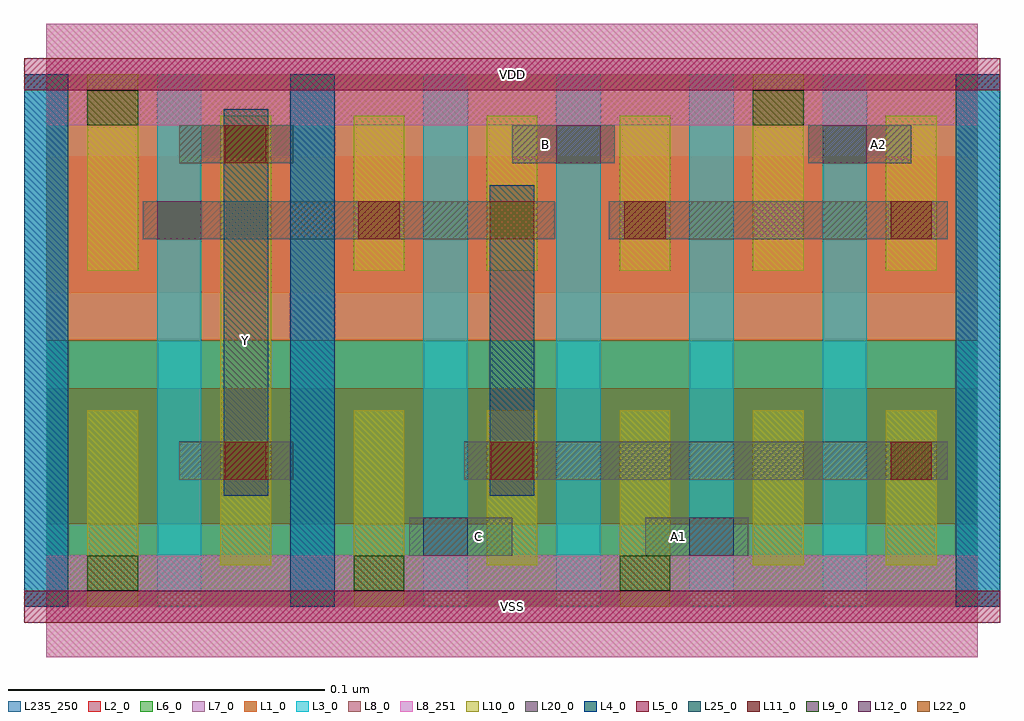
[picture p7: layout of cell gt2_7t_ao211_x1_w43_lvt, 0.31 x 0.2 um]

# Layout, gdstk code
import gdstk
lib = gdstk.Library(unit=1e-6, precision=5e-10)
def R(c, l, rs):  # rectangles x0, y0, x1, y1
    for r in rs: c.add(gdstk.rectangle(r[:2], r[2:], *l))
def A(c, l, x, y, w, h, nx, ny, dx, dy):  # array of equal rectangles
    R(c, l, [(x+i*dx, y+j*dy, x+i*dx+w, y+j*dy+h) for i in range(nx) for j in range(ny)])
L1_0 = (1, 0)
L2_0 = (2, 0)
L3_0 = (3, 0)
L4_0 = (4, 0)
L5_0 = (5, 0)
L6_0 = (6, 0)
L7_0 = (7, 0)
L8_0 = (8, 0)
L8_251 = (8, 251)
L9_0 = (9, 0)
L10_0 = (10, 0)
L11_0 = (11, 0)
L12_0 = (12, 0)
L20_0 = (20, 0)
L22_0 = (22, 0)
L25_0 = (25, 0)
L235_250 = (235, 250)

gt2_7t_ao211_x1_w43_lvt = lib.new_cell('gt2_7t_ao211_x1_w43_lvt')
R(gt2_7t_ao211_x1_w43_lvt, L1_0, [(0,0.084,0.294,0.168)])
R(gt2_7t_ao211_x1_w43_lvt, L2_0, [(0,0.026,0.294,0.069), (0,0.099,0.294,0.142)])
A(gt2_7t_ao211_x1_w43_lvt, L3_0, -0.007, 0, 0.014, 0.168, 8, 1, 0.042, 0)
R(gt2_7t_ao211_x1_w43_lvt, L4_0, [(-0.007,0,0.007,0.168), (0.077,0,0.091,0.168), (0.287,0,0.301,0.168)])
R(gt2_7t_ao211_x1_w43_lvt, L5_0, [(-0.007,-0.005,0.301,0.005), (-0.007,0.163,0.301,0.173)])
R(gt2_7t_ao211_x1_w43_lvt, L6_0, [(0,0,0.294,0.084)])
R(gt2_7t_ao211_x1_w43_lvt, L7_0, [(0,0.084,0.294,0.168)])
R(gt2_7t_ao211_x1_w43_lvt, L8_0, [(0,-0.016,0.294,0.016), (0,0.152,0.294,0.184)])
R(gt2_7t_ao211_x1_w43_lvt, L8_251, [(0,-0.016,0.294,0.016), (0,0.152,0.294,0.184)])
A(gt2_7t_ao211_x1_w43_lvt, L9_0, 0.013, 0.005, 0.016, 0.011, 3, 1, 0.084, 0)
R(gt2_7t_ao211_x1_w43_lvt, L9_0, [(0.013,0.152,0.029,0.163), (0.223,0.152,0.239,0.163)])
A(gt2_7t_ao211_x1_w43_lvt, L10_0, 0.013, 0, 0.016, 0.062, 3, 1, 0.084, 0)
A(gt2_7t_ao211_x1_w43_lvt, L10_0, 0.097, 0.106, 0.016, 0.049, 3, 1, 0.042, 0)
R(gt2_7t_ao211_x1_w43_lvt, L10_0, [(0.055,0.013,0.071,0.155), (0.139,0.013,0.155,0.062), (0.223,0.013,0.239,0.062), (0.265,0.013,0.281,0.062), (0.013,0.106,0.029,0.168), (0.223,0.106,0.239,0.168), (0.265,0.106,0.281,0.155)])
A(gt2_7t_ao211_x1_w43_lvt, L11_0, 0.0985, 0.116, 0.013, 0.012, 3, 1, 0.084, 0)
R(gt2_7t_ao211_x1_w43_lvt, L11_0, [(0.0565,0.04,0.0695,0.052), (0.1405,0.04,0.1535,0.052), (0.2665,0.04,0.2795,0.052), (0.0565,0.14,0.0695,0.152)])
R(gt2_7t_ao211_x1_w43_lvt, L12_0, [(0.119,0.016,0.133,0.028), (0.203,0.016,0.217,0.028), (0.035,0.116,0.049,0.128), (0.161,0.14,0.175,0.152), (0.245,0.14,0.259,0.152)])
R(gt2_7t_ao211_x1_w43_lvt, L20_0, [(0.1145,0.016,0.147,0.028), (0.189,0.016,0.2215,0.028), (0.042,0.04,0.078,0.052), (0.132,0.04,0.2845,0.052), (0.0305,0.116,0.1605,0.128), (0.1775,0.116,0.2845,0.128), (0.042,0.14,0.078,0.152), (0.147,0.14,0.1795,0.152), (0.2405,0.14,0.273,0.152)])
R(gt2_7t_ao211_x1_w43_lvt, L22_0, [(0.056,0.04,0.07,0.052), (0.14,0.04,0.154,0.052), (0.14,0.116,0.154,0.128), (0.056,0.14,0.07,0.152)])
R(gt2_7t_ao211_x1_w43_lvt, L25_0, [(0.056,0.035,0.07,0.157), (0.14,0.035,0.154,0.133)])
R(gt2_7t_ao211_x1_w43_lvt, L235_250, [(0,0,0.294,0.168)])
gt2_7t_ao211_x1_w43_lvt.add(gdstk.Label('VSS', (0.147,0), layer=8, texttype=251))
gt2_7t_ao211_x1_w43_lvt.add(gdstk.Label('VDD', (0.147,0.168), layer=8, texttype=251))
gt2_7t_ao211_x1_w43_lvt.add(gdstk.Label('B', (0.1575,0.146), layer=20, texttype=251))
gt2_7t_ao211_x1_w43_lvt.add(gdstk.Label('A2', (0.2625,0.146), layer=20, texttype=251))
gt2_7t_ao211_x1_w43_lvt.add(gdstk.Label('A1', (0.1995,0.022), layer=20, texttype=251))
gt2_7t_ao211_x1_w43_lvt.add(gdstk.Label('C', (0.1365,0.022), layer=20, texttype=251))
gt2_7t_ao211_x1_w43_lvt.add(gdstk.Label('Y', (0.063,0.084), layer=25, texttype=251))

lib.write_gds('gt2_7t_ao211_x1_w43_lvt.gds')
